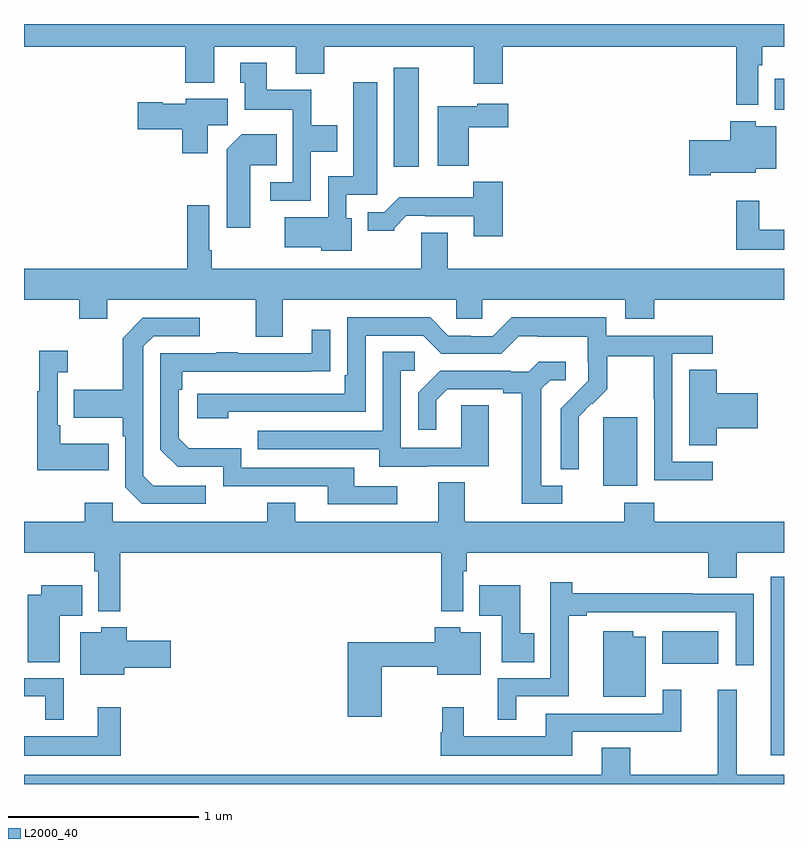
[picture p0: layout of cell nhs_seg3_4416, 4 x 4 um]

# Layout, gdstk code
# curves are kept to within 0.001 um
import gdstk
lib = gdstk.Library(unit=1e-6, precision=1e-09)
def R(c, l, rs):  # rectangles x0, y0, x1, y1
    for r in rs: c.add(gdstk.rectangle(r[:2], r[2:], *l))
def P(c, l, *ps):  # polygons
    for p in ps: c.add(gdstk.Polygon(p, *l))
L2000_40 = (2000, 40)

nhs_seg3_4416 = lib.new_cell('nhs_seg3_4416')
R(nhs_seg3_4416, L2000_40, [(350.93,666.552,351,667.492), (350.36,667.034,350.653,667.204), (350.048,667.97,350.227,668.331), (348.947,669.648,349.078,670.171), (350.95,669.95,351,670.111)])
P(nhs_seg3_4416, L2000_40, [(350.865,670.184),(350.885,670.184),(350.885,670.28),(351,670.28),(351,670.4),(347,670.4),(347,670.28),(347.849,670.28),(347.849,670.091),(348.001,670.091),(348.001,670.28),(348.431,670.28),(348.431,670.139),(348.579,670.139),(348.579,670.28),(349.367,670.28),(349.367,670.086),(349.52,670.086),(349.52,670.28),(350.749,670.28),(350.749,669.974),(350.865,669.974)],
  [(348.51,669.728),(348.649,669.728),(348.649,669.868),(348.513,669.868),(348.513,670.054),(348.277,670.054),(348.277,670.195),(348.137,670.195),(348.137,670.092),(348.161,670.092),(348.161,669.95),(348.414,669.95),(348.414,669.567),(348.297,669.567),(348.297,669.471),(348.51,669.471)],
  [(348.724,669.378),(348.696,669.378),(348.696,669.501),(348.859,669.501),(348.859,670.093),(348.734,670.093),(348.734,669.598),(348.6,669.598),(348.6,669.382),(348.372,669.382),(348.372,669.224),(348.564,669.224),(348.564,669.206),(348.724,669.206)],
  [(347.968,669.868),(348.073,669.868),(348.073,670.006),(347.85,670.006),(347.85,669.979),(347.73,669.979),(347.73,669.987),(347.598,669.987),(347.598,669.845),(347.834,669.845),(347.834,669.72),(347.968,669.72)],
  [(349.34,669.857),(349.549,669.857),(349.549,669.979),(349.386,669.979),(349.386,669.967),(349.178,669.967),(349.178,669.653),(349.34,669.653)],
  [(350.614,669.617),(350.85,669.617),(350.85,669.638),(350.959,669.638),(350.959,669.862),(350.85,669.862),(350.85,669.889),(350.717,669.889),(350.717,669.788),(350.502,669.788),(350.502,669.605),(350.614,669.605)],
  [(348.19,669.656),(348.329,669.656),(348.329,669.82),(348.146,669.82),(348.068,669.742),(348.068,669.327),(348.19,669.327)],
  [(349.52,669.571),(349.365,669.571),(349.365,669.487),(348.976,669.487),(348.897,669.408),(348.809,669.408),(348.809,669.311),(348.948,669.311),(348.948,669.326),(349.012,669.39),(349.111,669.39),(349.111,669.387),(349.367,669.387),(349.367,669.282),(349.52,669.282)],
  [(351,669.316),(350.869,669.316),(350.869,669.469),(350.748,669.469),(350.748,669.212),(351,669.212)],
  [(348.361,668.948),(349.275,668.948),(349.275,668.85),(349.413,668.85),(349.413,668.948),(350.165,668.948),(350.165,668.849),(350.318,668.849),(350.318,668.948),(351,668.948),(351,669.112),(349.231,669.112),(349.231,669.302),(349.091,669.302),(349.091,669.112),(347.989,669.112),(347.989,669.208),(347.976,669.208),(347.976,669.445),(347.86,669.445),(347.86,669.112),(347,669.112),(347,668.948),(347.29,668.948),(347.29,668.849),(347.437,668.849),(347.437,668.948),(348.221,668.948),(348.221,668.754),(348.361,668.754)],
  [(350.626,668.097),(350.412,668.097),(350.412,668.664),(350.626,668.664),(350.626,668.76),(350.064,668.76),(350.064,668.857),(349.567,668.857),(349.467,668.757),(349.352,668.757),(349.352,668.76),(349.233,668.76),(349.137,668.856),(348.702,668.856),(348.702,668.551),(348.689,668.551),(348.689,668.454),(347.913,668.454),(347.913,668.324),(348.074,668.324),(348.074,668.358),(348.798,668.358),(348.798,668.76),(349.101,668.76),(349.197,668.664),(349.512,668.664),(349.605,668.757),(349.705,668.757),(349.705,668.753),(349.968,668.753),(349.968,668.619),(349.97,668.619),(349.97,668.522),(349.824,668.374),(349.824,668.056),(349.92,668.056),(349.919,668.333),(349.989,668.403),(349.992,668.4),(350.069,668.477),(350.069,668.652),(350.314,668.652),(350.314,668.428),(350.316,668.428),(350.316,667.999),(350.626,667.999)],
  [(347.956,667.971),(347.679,667.971),(347.628,668.022),(347.628,668.703),(347.682,668.757),(347.926,668.757),(347.926,668.853),(347.625,668.853),(347.52,668.747),(347.52,668.475),(347.263,668.475),(347.263,668.327),(347.52,668.327),(347.52,668.231),(347.532,668.231),(347.532,667.962),(347.619,667.875),(347.956,667.875)],
  [(348.964,667.968),(348.739,667.968),(348.739,668.064),(348.144,668.064),(348.144,668.167),(347.867,668.167),(347.814,668.22),(347.814,668.474),(347.834,668.474),(347.834,668.571),(348.611,668.572),(348.611,668.791),(348.515,668.791),(348.515,668.667),(348.125,668.667),(348.125,668.672),(348.013,668.672),(348.013,668.667),(347.718,668.667),(347.718,668.16),(347.808,668.07),(348.048,668.07),(348.048,667.968),(348.599,667.968),(348.599,667.872),(348.964,667.872)],
  [(347.447,668.191),(347.191,668.191),(347.191,668.287),(347.178,668.287),(347.178,668.567),(347.23,668.567),(347.23,668.68),(347.081,668.68),(347.081,668.467),(347.07,668.467),(347.07,668.051),(347.447,668.051)],
  [(349.123,668.073),(349.447,668.073),(349.447,668.393),(349.302,668.393),(349.302,668.169),(348.984,668.169),(348.984,668.574),(349.057,668.574),(349.057,668.675),(348.888,668.675),(348.888,668.259),(348.229,668.259),(348.229,668.163),(348.869,668.163),(348.869,668.069),(349.123,668.069)],
  [(349.834,667.971),(349.723,667.971),(349.723,668.479),(349.77,668.526),(349.852,668.526),(349.852,668.623),(349.708,668.623),(349.656,668.571),(349.562,668.571),(349.562,668.574),(349.19,668.574),(349.074,668.458),(349.074,668.265),(349.171,668.265),(349.171,668.421),(349.228,668.478),(349.523,668.478),(349.523,668.456),(349.619,668.456),(349.619,667.875),(349.834,667.875)],
  [(350.645,668.273),(350.863,668.273),(350.863,668.456),(350.645,668.456),(350.645,668.579),(350.501,668.579),(350.501,668.182),(350.645,668.182)],
  [(347.507,667.616),(349.195,667.616),(349.195,667.31),(349.311,667.31),(349.311,667.52),(349.331,667.52),(349.331,667.616),(350.6,667.616),(350.6,667.486),(350.752,667.486),(350.752,667.616),(351,667.616),(351,667.78),(350.318,667.78),(350.318,667.879),(350.158,667.879),(350.158,667.78),(349.321,667.78),(349.321,667.988),(349.181,667.988),(349.181,667.78),(348.427,667.78),(348.427,667.879),(348.28,667.879),(348.28,667.78),(347.466,667.78),(347.466,667.879),(347.32,667.879),(347.32,667.78),(347,667.78),(347,667.616),(347.371,667.616),(347.371,667.52),(347.391,667.52),(347.391,667.31),(347.507,667.31)],
  [(349.591,666.861),(349.868,666.861),(349.868,667.285),(349.963,667.285),(349.963,667.305),(350.745,667.305),(350.745,667.026),(350.841,667.026),(350.841,667.401),(350.516,667.401),(350.516,667.403),(349.886,667.403),(349.886,667.462),(349.77,667.462),(349.77,666.957),(349.493,666.957),(349.493,666.737),(349.591,666.737)],
  [(349.685,667.194),(349.612,667.194),(349.612,667.447),(349.396,667.447),(349.396,667.286),(349.515,667.286),(349.515,667.042),(349.685,667.042)],
  [(347.188,667.286),(347.306,667.286),(347.306,667.447),(347.09,667.447),(347.09,667.396),(347.021,667.396),(347.021,667.042),(347.188,667.042)],
  [(348.882,667.018),(349.175,667.018),(349.175,666.974),(349.405,666.974),(349.405,667.198),(349.296,667.198),(349.296,667.225),(349.163,667.225),(349.163,667.147),(348.704,667.147),(348.704,666.753),(348.882,666.753)],
  [(347.527,667.013),(347.773,667.013),(347.773,667.155),(347.54,667.155),(347.54,667.225),(347.406,667.225),(347.406,667.198),(347.297,667.198),(347.297,666.974),(347.527,666.974)],
  [(350.272,667.174),(350.206,667.174),(350.206,667.204),(350.048,667.204),(350.048,666.86),(350.272,666.86)],
  [(347.209,666.957),(347,666.957),(347,666.861),(347.111,666.861),(347.111,666.737),(347.209,666.737)],
  [(349.885,666.675),(350.459,666.675),(350.459,666.895),(350.361,666.895),(350.361,666.771),(349.745,666.771),(349.745,666.652),(349.315,666.652),(349.315,666.805),(349.201,666.805),(349.201,666.672),(349.194,666.672),(349.194,666.548),(349.885,666.548)],
  [(351,666.448),(350.75,666.448),(350.75,666.895),(350.651,666.895),(350.651,666.448),(350.19,666.448),(350.19,666.59),(350.042,666.59),(350.042,666.448),(347,666.448),(347,666.4),(351,666.4)],
  [(347.509,666.805),(347.387,666.805),(347.387,666.652),(347,666.652),(347,666.548),(347.509,666.548)])

lib.write_gds('nhs_seg3_4416.gds')
